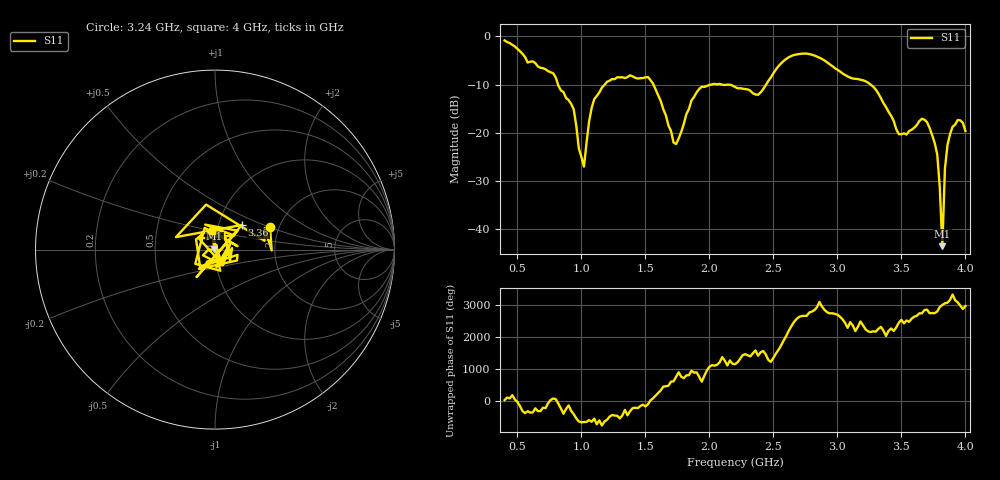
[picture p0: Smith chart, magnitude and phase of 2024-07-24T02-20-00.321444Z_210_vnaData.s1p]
!Created with skrf (http://scikit-rf.org).
# Hz S RI R 50.0
!freq ReS11 ImS11
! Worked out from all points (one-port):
!   181 points, 400 MHz to 4 GHz, reference 50 ohm
!   lowest |S11| = -43.6 dB at 3.82 GHz (marker M1), VSWR 1.01, Z = 49.5 + j0.471 ohm
!   |S11| at or under -10 dB: 817.3 MHz to 1.182 GHz (365 MHz wide, 36.5 % of centre); 1.563 GHz to 2.013 GHz (449.9 MHz wide, 25.2 % of centre); 3.26 GHz to end of sweep (the widest 3 of 4)
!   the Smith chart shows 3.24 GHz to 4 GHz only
!   S11 on the Smith chart (normalised r, x): 3.24 GHz: 1.79, +0.51; 3.36 GHz: 1.29, +0.37; 4 GHz: 0.95, +0.20
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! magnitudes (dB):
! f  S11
! 400 MHz  -0.8
! 860 MHz  -11.6
! 940 MHz  -15.2
! 1.02 GHz  -27.0
! 1.06 GHz  -17.7
! 1.1 GHz  -13.0
! 1.3 GHz  -8.5
! 1.52 GHz  -8.4
! 1.72 GHz  -22.1
! 1.76 GHz  -21.2
! 1.92 GHz  -10.9
! 2.2 GHz  -10.5
! 2.38 GHz  -12.1
! 2.66 GHz  -3.9
! 3.1 GHz  -8.6
! 3.24 GHz  -9.6
! 3.36 GHz  -13.9
! 3.48 GHz  -20.3
! 3.56 GHz  -19.7
! 3.68 GHz  -17.3
! 3.76 GHz  -22.1
! 3.78 GHz  -24.5
! 3.8 GHz  -31.4
! 3.82 GHz  -43.6
! 3.84 GHz  -27.5
! 3.86 GHz  -22.6
! 3.94 GHz  -17.4
! 4 GHz  -19.6
